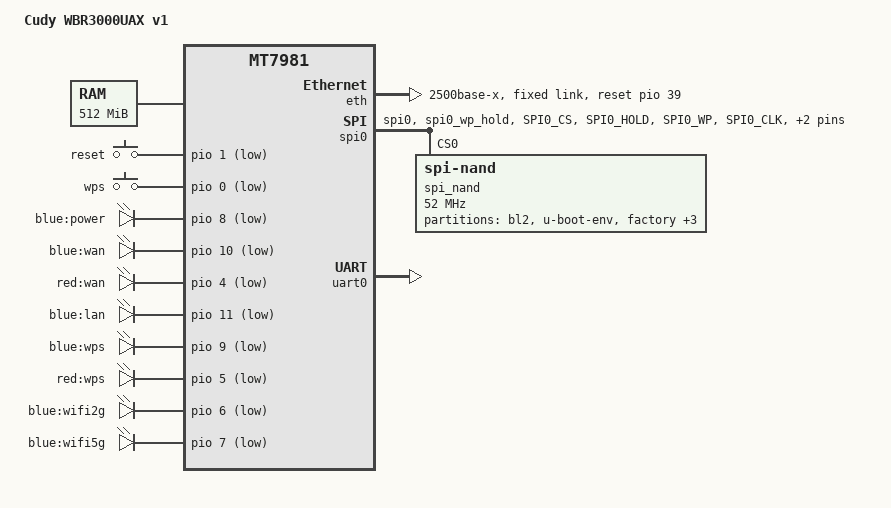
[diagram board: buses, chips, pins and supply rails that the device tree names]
// SPDX-License-Identifier: GPL-2.0-or-later

/dts-v1/;
#include "mt7981.dtsi"
#include <dt-bindings/gpio/gpio.h>
#include <dt-bindings/input/linux-event-codes.h>

/ {
	#address-cells = <1>;
	#size-cells = <1>;
	model = "Cudy WBR3000UAX v1";
	compatible = "mediatek,mt7981", "mediatek,mt7981-rfb";

	chosen {
		stdout-path = &uart0;
		tick-timer = &timer0;
	};

	memory@40000000 {
		device_type = "memory";
		reg = <0x40000000 0x20000000>;
	};

	gpio-keys {
		compatible = "gpio-keys";

		button-reset {
			label = "reset";
			linux,code = <KEY_RESTART>;
			gpios = <&pio 1 GPIO_ACTIVE_LOW>;
		};

		button-wps {
			label = "wps";
			linux,code = <KEY_WPS_BUTTON>;
			gpios = <&pio 0 GPIO_ACTIVE_LOW>;
		};
	};

	gpio-leds {
		compatible = "gpio-leds";

		led_status: led_power {
			label = "blue:power";
			gpios = <&pio 8 GPIO_ACTIVE_LOW>;
		};

		led_wan_blue {
			label = "blue:wan";
			gpios = <&pio 10 GPIO_ACTIVE_LOW>;
		};
		
		led_wan_red {
			label = "red:wan";
			gpios = <&pio 4 GPIO_ACTIVE_LOW>;
		};

		led_lan {
			label = "blue:lan";
			gpios = <&pio 11 GPIO_ACTIVE_LOW>;
		};

		led_wps_blue {
			label = "blue:wps";
			gpios = <&pio 9 GPIO_ACTIVE_LOW>;
		};

		led_wps_red {
			label = "red:wps";
			gpios = <&pio 5 GPIO_ACTIVE_LOW>;
		};

		led_wifi2g {
			label = "blue:wifi2g";
			gpios = <&pio 6 GPIO_ACTIVE_LOW>;
		};

		led_wifi5g {
			label = "blue:wifi5g";
			gpios = <&pio 7 GPIO_ACTIVE_LOW>;
		};
	};
};

&eth {
	status = "okay";
	mediatek,gmac-id = <0>;
	phy-mode = "2500base-x";
	mediatek,switch = "mt7531";
	reset-gpios = <&pio 39 GPIO_ACTIVE_HIGH>;

	fixed-link {
		speed = <2500>;
		full-duplex;
	};
};

&pio {
	spi_flash_pins: spi0-pins-func-1 {
		mux {
			function = "flash";
			groups = "spi0", "spi0_wp_hold";
		};

		conf-pu {
			pins = "SPI0_CS", "SPI0_HOLD", "SPI0_WP";
			drive-strength = <MTK_DRIVE_8mA>;
			bias-pull-up = <MTK_PUPD_SET_R1R0_11>;
		};

		conf-pd {
			pins = "SPI0_CLK", "SPI0_MOSI", "SPI0_MISO";
			drive-strength = <MTK_DRIVE_8mA>;
			bias-pull-down = <MTK_PUPD_SET_R1R0_11>;
		};
	};
};

&spi0 {
	#address-cells = <1>;
	#size-cells = <0>;
	pinctrl-names = "default";
	pinctrl-0 = <&spi_flash_pins>;
	status = "okay";
	must_tx;
	enhance_timing;
	dma_ext;
	ipm_design;
	support_quad;
	tick_dly = <2>;
	sample_sel = <0>;

	spi_nand@0 {
		compatible = "spi-nand";
		reg = <0>;
		spi-max-frequency = <52000000>;

		partitions {
			compatible = "fixed-partitions";
			#address-cells = <1>;
			#size-cells = <1>;

			partition@0 {
				label = "bl2";
				reg = <0x0 0x100000>;
			};

			partition@100000 {
				label = "u-boot-env";
				reg = <0x100000 0x80000>;
			};

			partition@180000 {
				label = "factory";
				reg = <0x180000 0x200000>;
			};

			partition@380000 {
				label = "bdinfo";
				reg = <0x380000 0x40000>;
			};

			partition@3c0000 {
				label = "fip";
				reg = <0x3c0000 0x200000>;
			};

			partition@5c0000 {
				label = "ubi";
				reg = <0x5c0000 0x7a40000>;
				compatible = "linux,ubi";
			};
		};
	};
};

&uart0 {
	mediatek,force-highspeed;
	status = "okay";
};

&watchdog {
	status = "disabled";
};
